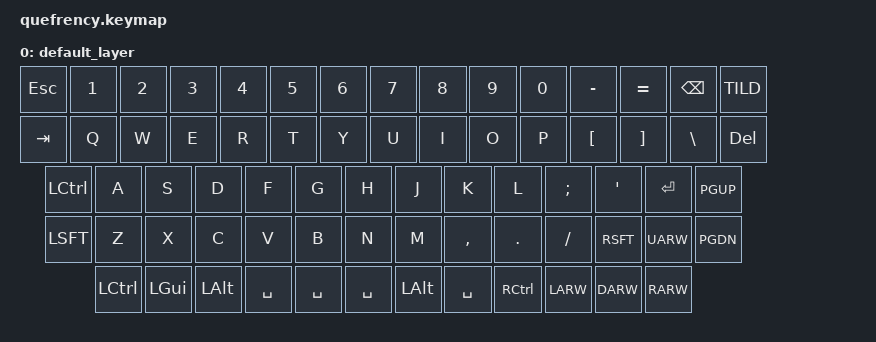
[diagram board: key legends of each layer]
#include <behaviors.dtsi>
#include <dt-bindings/zmk/keys.h>

/ {
    keymap {
        compatible = "zmk,keymap";

        default_layer {
// ---------------------------------------------------------------------------------------------------------------------------------
// |  ESC  |  1   |  2   |  3  |  4   |  5  |  6   |  7   |   8   |  9  |  0  |    -    |   =   | BKSP |  `  |
// |  TAB  |  Q   |  W   |  E  |  R   |  T  |  Y   |  U   |   I   |  O  |  P  |    [    |   ]   |  \   | DEL |
// |  CAPS |  A   |  S   |  D  |  F   |  G  |  H   |  J   |   K   |  L  |  ;  |    '    | ENTER | PGUP |
// | LCTRL |  Z   |  X   |  C  |  V   |  B  |  N   |  M   |   ,   |  .  |  /  |  SHIFT  |   ^   | PGDN |
// | LCTRL | LGUI | LALT | SPC |  FN  | SPC | LALT |  FN  | RCTRL |  <- |  v  |   ->    |
            bindings = <
    &kp ESC  &kp 1 &kp 2 &kp 3 &kp 4 &kp 5 &kp 6 &kp 7 &kp 8 &kp 9 &kp 0 &kp MINUS &kp EQL     &kp BKSP  &kp TILD
    &kp TAB    &kp Q &kp W &kp E &kp R &kp T &kp Y &kp U &kp I &kp O &kp P &kp LBKT &kp RBKT   &kp BSLH  &kp DEL
    &kp LCTL    &kp A &kp S &kp D &kp F &kp G &kp H &kp J &kp K &kp L &kp SCLN &kp QUOT        &kp RET   &kp PGUP
    &kp LSFT     &kp Z &kp X &kp C &kp V &kp B &kp N &kp M  &kp CMMA &kp DOT &kp FSLH &kp RSFT &kp UARW  &kp PGDN
    &kp LCTL &kp LGUI &kp LALT &kp SPC &kp SPC &kp SPC &kp LALT  &kp SPC  &kp RCTL   &kp LARW  &kp DARW  &kp RARW
//    &kp LCTL &kp LGUI &kp LALT &kp SPC &mo 1 &kp SPC &kp LALT     &mo 1    &kp RCTL   &kp LARW  &kp DARW  &kp RARW
            >;

        };
    };
};
